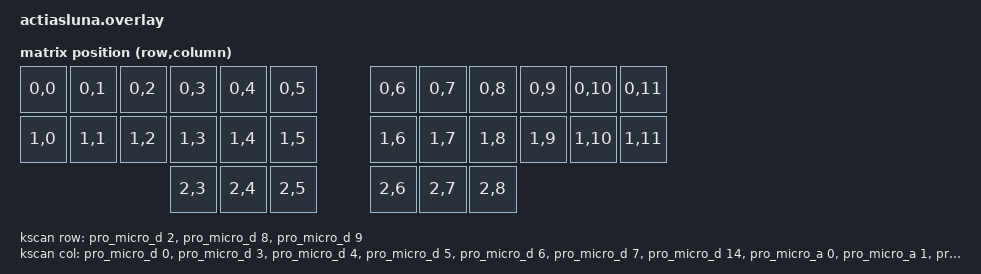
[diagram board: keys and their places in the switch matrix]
/*
 * Copyright (c) 2020 The ZMK Contributors
 *
 * SPDX-License-Identifier: MIT
 */

#include <dt-bindings/zmk/matrix_transform.h>

&spi0 {
    status = "okay";
    compatible = "nordic,nrf-spim";
    sck-pin = <45>;
    mosi-pin = <10>;
    miso-pin = <0>;
    cs-gpios = <&pro_micro_a 10 GPIO_ACTIVE_HIGH>;

    ls0xx: ls0xx@0 {
        compatible = "sharp,ls0xx";
        label = "DISPLAY";
        spi-max-frequency = <2000000>;
        reg = <0>;
        width = <144>;
        height = <168>;

    };
};

/ {
    chosen {
        zmk,kscan = &kscan;
        zmk,matrix_transform = &transform;
        zephyr,display = &ls0xx;
    };

    transform: transform {
        compatible = "zmk,matrix-transform";
        rows = <3>;
        columns = <12>;

        map = <

        RC(0,0) RC(0,1) RC(0,2) RC(0,3) RC(0,4) RC(0,5)     RC(0,6) RC(0,7) RC(0,8) RC(0,9) RC(0,10) RC(0,11)
        RC(1,0) RC(1,1) RC(1,2) RC(1,3) RC(1,4) RC(1,5)     RC(1,6) RC(1,7) RC(1,8) RC(1,9) RC(1,10) RC(1,11)
                                RC(2,3) RC(2,4) RC(2,5)     RC(2,6) RC(2,7) RC(2,8)
        >;
    };

    kscan: kscan {
        compatible = "zmk,kscan-gpio-matrix";
        label = "KSCAN";

        diode-direction = "row2col";

         row-gpios
            = <&pro_micro_d 2 GPIO_ACTIVE_HIGH>
            , <&pro_micro_d 8 GPIO_ACTIVE_HIGH>
            , <&pro_micro_d 9 GPIO_ACTIVE_HIGH>
            ;

        col-gpios
            = <&pro_micro_d 0 (GPIO_ACTIVE_HIGH | GPIO_PULL_DOWN)>
            , <&pro_micro_d 3 (GPIO_ACTIVE_HIGH | GPIO_PULL_DOWN)>
            , <&pro_micro_d 4 (GPIO_ACTIVE_HIGH | GPIO_PULL_DOWN)>
            , <&pro_micro_d 5 (GPIO_ACTIVE_HIGH | GPIO_PULL_DOWN)>
            , <&pro_micro_d 6 (GPIO_ACTIVE_HIGH | GPIO_PULL_DOWN)>
            , <&pro_micro_d 7 (GPIO_ACTIVE_HIGH | GPIO_PULL_DOWN)>
            , <&pro_micro_d 14 (GPIO_ACTIVE_HIGH | GPIO_PULL_DOWN)>
            , <&pro_micro_a 0 (GPIO_ACTIVE_HIGH | GPIO_PULL_DOWN)>
            , <&pro_micro_a 1 (GPIO_ACTIVE_HIGH | GPIO_PULL_DOWN)>
            , <&pro_micro_a 2 (GPIO_ACTIVE_HIGH | GPIO_PULL_DOWN)>
            , <&pro_micro_a 3 (GPIO_ACTIVE_HIGH | GPIO_PULL_DOWN)>
            , <&pro_micro_d 1 (GPIO_ACTIVE_HIGH | GPIO_PULL_DOWN)>
            ;
    };
};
